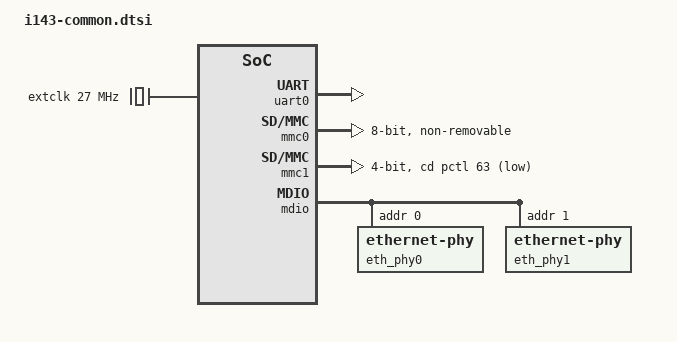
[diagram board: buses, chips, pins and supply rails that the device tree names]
/dts-v1/;

#include <dt-bindings/clock/sp-i143.h>
#include <dt-bindings/interrupt-controller/arm-gic.h>
#include <dt-bindings/interrupt-controller/sp-intc.h> /* SP_INTC_EXT_INT1 */
#include <dt-bindings/reset/sp-i143.h>
#include <dt-bindings/gpio/gpio.h>
#include <dt-bindings/pinctrl/sp_i143.h>

#include "i143-storage.dtsi"

/ {
	aliases {
		serial0 = &uart0;
	};

	clocks {
		#address-cells = <1>;
		#size-cells = <1>;
		ranges;

		extclk: clk@osc0 {
			#clock-cells = <0>;
			compatible = "fixed-clock";
			clock-frequency = <27000000>;
			clock-output-names = "extclk";
		};

		clkc: clkc@9c000054 {
			#clock-cells = <1>;
			compatible = "sunplus,sp-clkc";
			reg = <0x9c000000 0x2c>, // G0.0 ~ G0.10
				  <0x9c000200 0x80>; // G4
		};
	};

	soc@B {
		compatible = "simple-bus";
		#address-cells = <1>;
		#size-cells = <1>;
		ranges;

		interrupt-parent = <&intc>;

		/* B modules */
		rstc: reset@0x9c000054 {
			compatible = "sunplus,sp-reset";
			#reset-cells = <1>;
			reg = <0x9c000054 0x28>;
			reg-names = "reset";
		};

		uart0: serial@sp_uart0 {
			compatible = "sunplus,sp7021-uart";
			reg = <0x9c000900 0x80>;
			interrupt-parent = <&intc>;
			interrupts = <18 IRQ_TYPE_LEVEL_HIGH>;
			clocks = <&clkc UA0>;
			resets = <&rstc RST_UA0>;
		};

		otp: otp@0x9C00AF00 {
			compatible = "sunplus,i143-ocotp";
			reg = <0x9C00AF00 0x34>, <0x9C00AF80 0x58>;
			reg-names = "hb_gpio", "otprx";
			clocks = <&clkc OTPRX>;
			resets = <&rstc RST_OTPRX>;
			#address-cells = <1>;
			#size-cells = <1>;
			//therm_calib: therm_calib {  reg = <0x14 0x3>;  };
			mac_addr0: mac_addr0 {
				reg = <0x34 0x6>;
			};
			mac_addr1: mac_addr1 {
				reg = <0x3A 0x6>;
			};
			//disc_vol0: disc_vol0 {
			//      reg = <0x18 0x2>;
			//};
			//disc_vol1: disc_vol1 {
			//      reg = <0x18 0x2>;
			//};
		};

		mmc0: mmc@emmc {
			compatible = "sunplus,sp7021-emmc";
			reg = <0x9c003b00 0x180>;
			interrupt-parent = <&intc>;
			interrupts = <11 IRQ_TYPE_LEVEL_HIGH>;
			clocks = <&clkc CARD_CTL0>;
			resets = <&rstc RST_CARD_CTL0>;
			pinctrl-names = "default";
			pinctrl-0 = <&emmc_mux>;
			bus-width = <8>;
			max-frequency = <52000000>;
			non-removable;
			disable-wp;
			cap-mmc-highspeed;
			mmc-ddr-3_3v;
			no-sdio;
			no-sd;
		};

		mmc1: mmc@sdcard {
			compatible = "sunplus,sp7021-card1";
			reg = <0x9c003e80 0x180>;
			interrupt-parent = <&intc>;
			interrupts = <12 IRQ_TYPE_LEVEL_HIGH>;
			clocks = <&clkc CARD_CTL1>;
			resets = <&rstc RST_CARD_CTL1>;
			pinctrl-names = "default";
			pinctrl-0 = <&mmc1_mux>;
			bus-width = <4>;
			max-frequency = <52000000>;
			cd-gpios = <&pctl 63 GPIO_ACTIVE_LOW>;
			broken-cd;
			disable-wp;
			cap-sd-highspeed;
			no-sdio;
			no-mmc;
		};

		gl2sw: gl2sw@0x9c108000 {
			compatible = "sunplus,i143-gl2sw";
			reg = <0x9c108000 0x400>, <0x9c000280 0x80>;
			reg-names = "gl2sw", "moon5";
			interrupt-parent = <&intc>;
			interrupts =
				<38 IRQ_TYPE_LEVEL_HIGH>,
				<39 IRQ_TYPE_LEVEL_HIGH>,
				<40 IRQ_TYPE_LEVEL_HIGH>,
				<41 IRQ_TYPE_LEVEL_HIGH>;
			clocks = <&clkc GL2SW>;
			resets = <&rstc RST_GL2SW>;
			phy-handle1 = <&eth_phy0>;
			phy-handle2 = <&eth_phy1>;
			nvmem-cell-names = "mac_addr0", "mac_addr1";
			nvmem-cells = <&mac_addr0>, <&mac_addr1>;
			pinctrl-names = "default";
			pinctrl-0 = <&gl2sw_pins>;
		};

		mdio {
			compatible = "sunplus,i143-mdio";
			#address-cells = <1>;
			#size-cells = <0>;
			eth_phy0: ethernet-phy@0 {
				reg = <0>;
			};
			eth_phy1: ethernet-phy@1 {
				reg = <1>;
			};
		};

		pctl: pctl@0x9C000100 {
			compatible = "sunplus,i143-pctl";
			reg = <0x9C000100 0x100>,
			      <0x9C000300 0x80>,
			      <0x9C000380 0x80>,
			      <0x9C0032e4 0x1C>,
			      <0x9C000080 0x20>;
			gpio-controller;
			#gpio-cells = <2>;
			//interrupt-parent = <&intc>;
			//interrupts =
			//	<120 IRQ_TYPE_LEVEL_HIGH>,
			//	<121 IRQ_TYPE_LEVEL_HIGH>,
			//	<122 IRQ_TYPE_LEVEL_HIGH>,
			//	<123 IRQ_TYPE_LEVEL_HIGH>,
			//	<124 IRQ_TYPE_LEVEL_HIGH>,
			//	<125 IRQ_TYPE_LEVEL_HIGH>,
			//	<126 IRQ_TYPE_LEVEL_HIGH>,
			//	<127 IRQ_TYPE_LEVEL_HIGH>;
			//clocks = <&clkc GPIO>;
			//resets = <&rstc RST_GPIO>;

			emmc_mux: emmc_mux {
				sppctl,groups = "CARD0_EMMC";
				sppctl,function = "CARD0_EMMC";
			};

			mmc1_mux: mmc1_mux {
				sppctl,groups = "SD_CARD";
				sppctl,function = "SD_CARD";
				sppctl,pins = < I143_IOPAD(63,I143_PCTL_G_GPIO,0,0) >;
			};

			gl2sw_pins: gl2sw_pins {
				sppctl,groups = "GL2SW";
				sppctl,function = "GL2SW";
			};
		};

		gpu: gpu@0x9C110000 {
			compatible = "sunplus,galcore";
			reg = <0x9C110000 0x40000>;
			interrupt-parent = <&intc>;
			interrupts =
				<71 IRQ_TYPE_LEVEL_HIGH>; /* GC520_INT */
		};
	};
};
